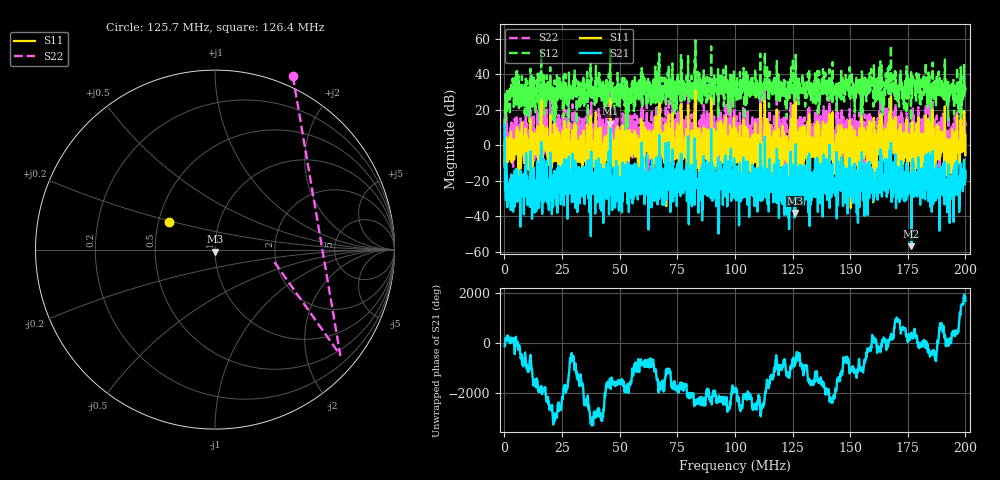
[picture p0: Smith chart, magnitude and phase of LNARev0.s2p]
! 19-Feb-26 1:22:18 PM
! E:\VNA_MEASUREMENTS\RECBLOCK\LNAREV0.S2P
! CHANNEL.1
! TR.MEASUREMENT
! CORRECTED.DATA
# GHZ S RI R 50.0
! FREQ.GHZ  S11RE  S11IM  S21RE  S21IM  S12RE  S12IM  S22RE  S22IM
!; PortSelection: Port_12
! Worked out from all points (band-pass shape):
!   2000 points, 50 kHz to 200 MHz, reference 50 ohm
!   highest |S21| = 12.07 dB at 45.86 MHz (marker M1); lowest = -56.9 dB at 176.6 MHz (marker M2)
!   |S21| within 3 dB of the highest: start of sweep to 77.36 kHz; 45.85287 MHz to 45.87471 MHz (21.84 kHz wide, 0.0476 % of centre)
!   lowest |S11| = -38.1 dB at 126.1 MHz (marker M3), VSWR 1.03, Z = 49.9 - j1.23 ohm
!   |S11| at or under -10 dB: 14.55 MHz to 14.66 MHz (105.6 kHz wide, 0.723 % of centre); 24.73 MHz to 24.89 MHz (159.7 kHz wide, 0.644 % of centre); 129.5078 MHz to 129.7069 MHz (199.1 kHz wide, 0.154 % of centre) (the widest 3 of 177)
!   |S22| runs from -29.9 to 39.8 dB; largest |S21 - S12| = 8.9e+02
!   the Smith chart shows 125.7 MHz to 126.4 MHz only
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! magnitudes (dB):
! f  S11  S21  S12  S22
! 50 kHz  -12.4  11.6  -10.7  -11.3
! 1.15 MHz  1.4  -35.0  24.9  -4.3
! 1.85 MHz  -8.1  -21.5  30.4  8.5
! 33.46 MHz  -0.2  -13.3  35.5  14.7
! 42.36 MHz  -2.0  -20.8  34.9  7.2
! 45.86 MHz  25.9  12.1  54.1  39.8
! 53.66 MHz  0.4  -24.8  23.6  2.5
! 66.77 MHz  3.0  -19.5  16.0  8.3
! 81.47 MHz  8.0  -20.4  35.0  8.0
! 83.57 MHz  -12.8  -23.9  31.7  5.4
! 92.17 MHz  -2.7  -27.7  29.2  1.9
! 100.1 MHz  7.9  -14.5  27.8  13.6
! 117.9 MHz  -2.9  -32.2  34.2  -3.8
! 122.9 MHz  -10.3  -26.1  31.5  1.9
! 126.1 MHz  -38.1  -36.7  31.2  -9.9
! 133.4 MHz  -1.9  -20.7  33.0  6.6
! 145.8 MHz  -2.6  -20.3  32.9  7.4
! 153.1 MHz  -4.5  -31.3  29.1  -5.1
! 166.7 MHz  -8.1  -21.2  33.0  7.7
! 176.6 MHz  -4.9  -56.9  29.0  -16.0
! 197.6 MHz  0.2  -17.8  23.0  9.9
! 200 MHz  -5.6  -19.0  33.7  8.3
